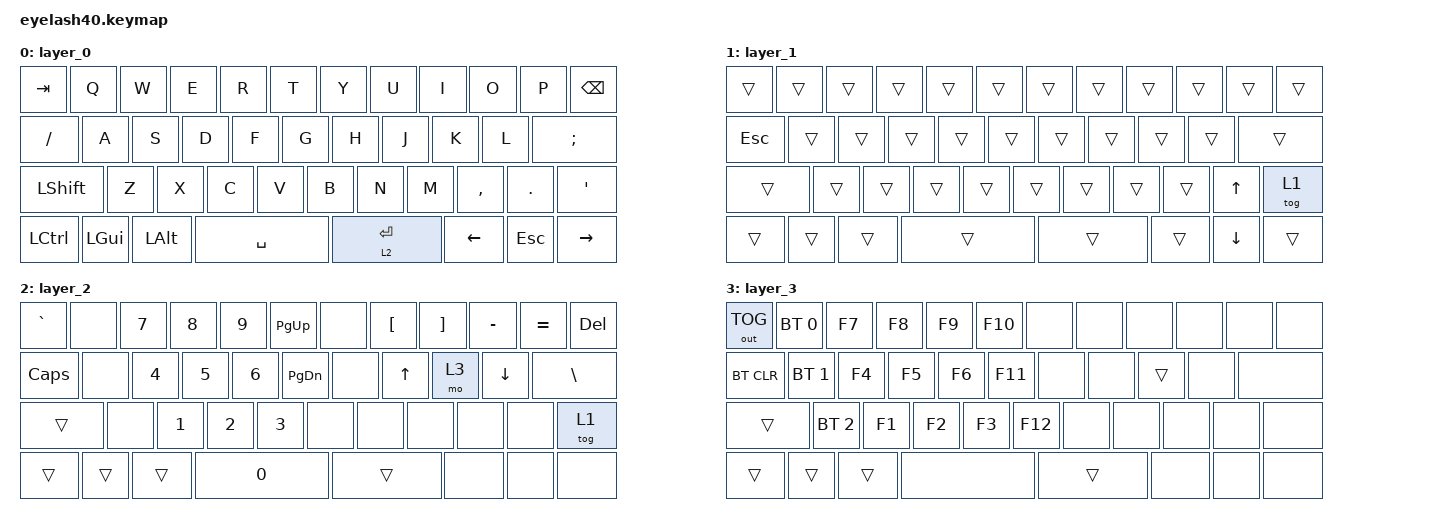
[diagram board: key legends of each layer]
/*
 * SPDX-License-Identifier: MIT
 */

#include <behaviors.dtsi>
#include <dt-bindings/zmk/keys.h>
#include <dt-bindings/zmk/bt.h>
#include <dt-bindings/zmk/outputs.h>

/ {
    behaviors {
        hm: homerow_mods {
            compatible = "zmk,behavior-hold-tap";
            label = "HOMEROW_MODS";
            bindings = <&kp>, <&kp>;

            #binding-cells = <2>;
            tapping-term-ms = <200>;
            quick-tap-ms = <180>;
            flavor = "tap-preferred";
        };

        ltq: ltq {
            compatible = "zmk,behavior-hold-tap";
            label = "LTQ";
            bindings = <&mo>, <&kp>;

            #binding-cells = <2>;
            tapping-term-ms = <200>;
            quick-tap-ms = <180>;
        };

        as: auto_shift {
            compatible = "zmk,behavior-hold-tap";
            label = "AUTO_SHIFT";
            bindings = <&kp>, <&kp>;

            #binding-cells = <2>;
            tapping-term-ms = <135>;
            quick-tap-ms = <0>;
        };
    };
        keymap {
                compatible = "zmk,keymap";

                layer_0 {
// -------------------------------------------------------------------------------------
// | TAB |  Q  |  W  |  E  |  R  |  T  |  Y  |  U   |  I  |  O  |  P  | BSPC |
// |    /  |  A  |  S  |  D  |  F  |  G  |  H  |  J   |  K  |  L  |    ;     |
// |   SHFT   |  Z  |  X  |  C  |  V  |  B  |  N  |  M   |  ,  |  .  |   “   |
// | CTRL | GUI | ALT |        SPC       |   ENTER(MO2) | LEFT | ESC | RIGHT |
                        bindings = <
    &kp TAB    &kp Q    &kp W    &kp E    &kp R    &kp T    &kp Y    &kp U    &kp I    &kp O    &kp P    &kp BSPC
    &kp SLASH  &kp A    &kp S    &kp D    &kp F    &kp G    &kp H    &kp J    &kp K    &kp L    &kp SEMI
    &kp LSHFT  &kp Z    &kp X    &kp C    &kp V    &kp B    &kp N    &kp M    &kp COMMA  &kp DOT    &kp SQT
    &kp LCTRL  &kp LGUI  &kp LALT  &kp SPACE  &ltq 2 ENTER  &kp LEFT  &kp ESC  &kp RIGHT
                        >;
                };

                layer_1 {
// ------------------------------------------------------------------------------------
// |     |     |     |     |     |     |     |      |     |     |     |      |
// |  ESC  |     |     |     |     |     |     |      |     |     |          |
// |          |     |     |     |     |     |     |      |     | UP |  TO(0) |
// |      |     |     |               |               |       |DOWN|         |
                        bindings = <
&trans    &trans   &trans    &trans    &trans    &trans    &trans    &trans    &trans    &trans    &trans    &trans
    &kp ESC  &trans    &trans    &trans    &trans    &trans    &trans    &trans    &trans    &trans    &trans
    &trans  &trans    &trans    &trans    &trans    &trans    &trans    &trans    &trans  &kp UP    &tog 1
    &trans  &trans  &trans  &trans  &trans  &trans  &kp DOWN  &trans
                        >;
                };

                layer_2 {
// ----------------------------------------------------------------------------
// |  `  | NONE |  7  |  8  |  9  |PG_UP|NONE |  [   |  ]  |  -  |  =  | DEL  |
// |   CAP |NONE |  4  |  5  |  6  |PG_DN| NONE | UP  |MO（3）| DOWN |    \    |
// |          |NONE |  1  |  2  |  3  |NONE |NONE | NONE |NONE |NONE | TO（1） |
// |      |     |     |       0       |               | NONE  | NONE| NONE    |
                        bindings = <
   &kp GRAVE  &none     &kp N7  &kp N8  &kp N9  &kp PG_UP      &none  &kp LBKT    &kp RBKT     &kp MINUS    &kp EQUAL    &kp DEL
    &kp CAPS  &none     &kp N4  &kp N5  &kp N6  &kp PG_DN      &none  &kp UP  &mo 3  &kp DOWN    &kp BSLH
    &trans    &none     &kp N1  &kp N2  &kp N3  &none          &none  &none   &none     &none    &tog 1
    &trans    &trans    &trans  &kp N0  &trans     &none  &none   &none
                        >;
                };

                layer_3 {
// -----------------------------------------------------------------------------------------
// | USB/BT | BT1 | F7 | F8 |  F9  | F10  | NONE | NONE|  NONE| NONE | NONE |  NONE  |
// |   BT_CLR   | BT2 | F4 | F5 |  F6  |   F11   | NONE | NONE |     | NONE  |NONE  |
// |           |  BT3  |  F1  |  F2  | F3  | F12  |NONE | NONE | NONE  | NONE | NONE |
// |       |     |       |       NONE        |               |  NONE | NONE | NONE |
                        bindings = <
   &out OUT_TOG  &bt BT_SEL 0  &kp F7  &kp F8  &kp F9  &kp F10      &none  &none  &none  &none  &none &none
   &bt BT_CLR   &bt BT_SEL 1  &kp F4  &kp F5  &kp F6  &kp F11      &none  &none  &trans  &none  &none
   &trans       &bt BT_SEL 2  &kp F1  &kp F2  &kp F3  &kp F12      &none  &none  &none  &none   &none
   &trans       &trans        &trans  &none  &trans     &none  &none  &none
                        >;
                };
        };
};
